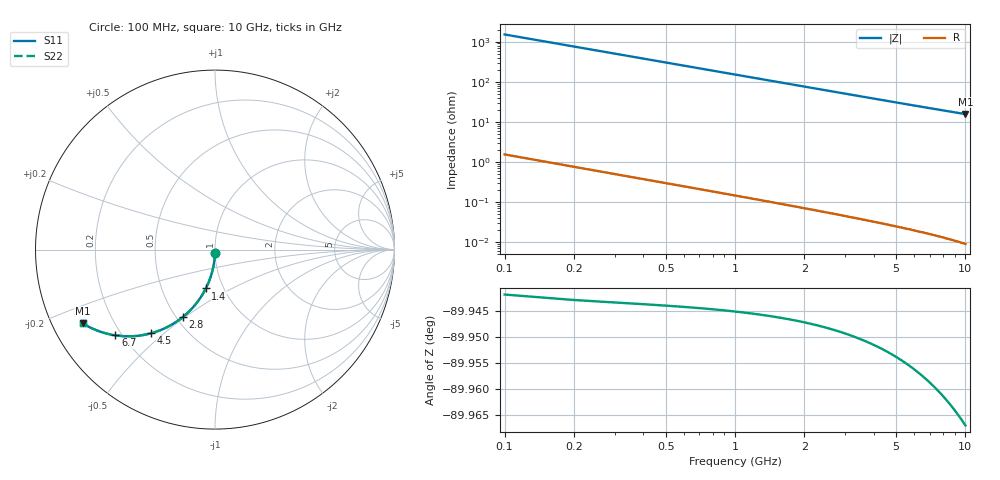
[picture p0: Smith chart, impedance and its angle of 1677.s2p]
# Hz S RI R 50.00
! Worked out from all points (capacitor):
!   100 points, 100 MHz to 10 GHz, reference 50 ohm
!   read as one part in shunt: C = 1.05 pF near 100 MHz
!   lowest |Z| = 15.6 ohm at 10 GHz (marker M1)
!   S11 on the Smith chart (normalised r, x): 100 MHz: 1.00, -0.03; 1.4 GHz: 0.83, -0.38; 2.8 GHz: 0.54, -0.49; 4.5 GHz: 0.32, -0.45; 6.7 GHz: 0.18, -0.36; 10 GHz: 0.09, -0.26
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1e8  -4.89e-06 -0.0163  0.9994 -0.0168  0.9994 -0.0168  -4.89e-06 -0.0163
2e8  -0.000841 -0.0325  0.9986 -0.0336  0.9986 -0.0336  -0.000841 -0.0325
3e8  -0.00222 -0.0487  0.9972 -0.0504  0.9972 -0.0504  -0.00222 -0.0487
4e8  -0.00414 -0.0648  0.9953 -0.0671  0.9953 -0.0671  -0.00414 -0.0648
5e8  -0.0066 -0.0809  0.9928 -0.0836  0.9928 -0.0836  -0.0066 -0.0809
6e8  -0.00958 -0.0967  0.9898 -0.1  0.9898 -0.1  -0.00958 -0.0967
7e8  -0.0131 -0.1125  0.9863 -0.1163  0.9863 -0.1163  -0.0131 -0.1125
9e8  -0.0216 -0.1433  0.9778 -0.1483  0.9778 -0.1483  -0.0216 -0.1433
1.1e9  -0.032 -0.1733  0.9674 -0.1793  0.9674 -0.1793  -0.032 -0.1733
1.4e9  -0.0509 -0.2161  0.9484 -0.2239  0.9484 -0.2239  -0.0509 -0.2161
1.8e9  -0.0816 -0.2688  0.9177 -0.2787  0.9177 -0.2787  -0.0816 -0.2688
2.3e9  -0.1268 -0.3263  0.8725 -0.339  0.8725 -0.339  -0.1268 -0.3263
2.8e9  -0.1773 -0.3739  0.822 -0.3894  0.822 -0.3894  -0.1773 -0.3739
3.4e9  -0.2413 -0.4182  0.7579 -0.437  0.7579 -0.437  -0.2413 -0.4182
3.9e9  -0.2952 -0.445  0.7039 -0.4666  0.7039 -0.4666  -0.2952 -0.445
4.5e9  -0.3583 -0.4666  0.6408 -0.4916  0.6408 -0.4916  -0.3583 -0.4666
5.1e9  -0.418 -0.4786  0.5809 -0.5069  0.5809 -0.5069  -0.418 -0.4786
5.8e9  -0.4821 -0.483  0.5168 -0.5153  0.5168 -0.5153  -0.4821 -0.483
6.7e9  -0.5547 -0.4777  0.444 -0.515  0.444 -0.515  -0.5547 -0.4777
7.5e9  -0.6102 -0.466  0.3883 -0.5079  0.3883 -0.5079  -0.6102 -0.466
8.4e9  -0.6633 -0.4482  0.3349 -0.4952  0.3349 -0.4952  -0.6633 -0.4482
1e10  -0.7377 -0.4105  0.26 -0.4668  0.26 -0.4668  -0.7377 -0.4105
